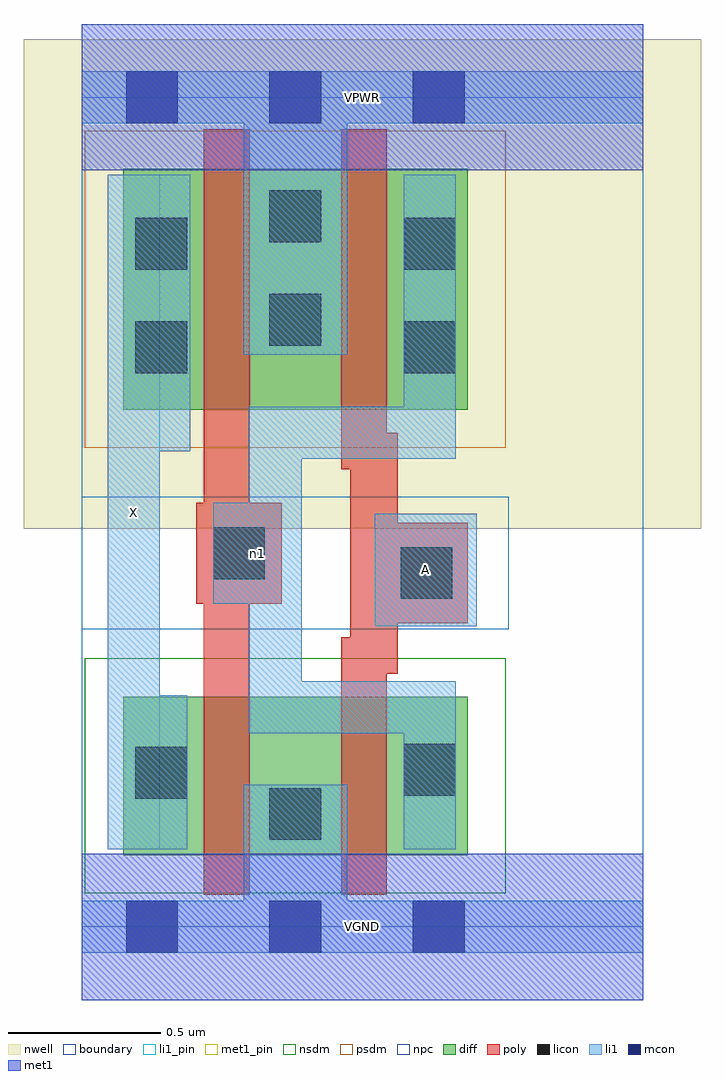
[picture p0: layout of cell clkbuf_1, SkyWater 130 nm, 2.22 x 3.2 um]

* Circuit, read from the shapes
.subckt clkbuf_1 A VGND VPWR X n1
XM1 VGND n1 X VSUBS sky130_fd_pr__nfet_01v8 w=0.52 l=0.15
XM2 n1 A VGND VSUBS sky130_fd_pr__nfet_01v8 w=0.52 l=0.15
XM3 VPWR n1 X n2 sky130_fd_pr__pfet_01v8 w=0.79 l=0.15
XM4 n1 A VPWR n2 sky130_fd_pr__pfet_01v8 w=0.79 l=0.15
.ends

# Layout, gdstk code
import gdstk
lib = gdstk.Library(unit=1e-6, precision=1e-09)
def R(c, l, rs):  # rectangles x0, y0, x1, y1
    for r in rs: c.add(gdstk.rectangle(r[:2], r[2:], *l))
def A(c, l, x, y, w, h, nx, ny, dx, dy):  # array of equal rectangles
    R(c, l, [(x+i*dx, y+j*dy, x+i*dx+w, y+j*dy+h) for i in range(nx) for j in range(ny)])
nwell = (64, 20)
diff = (65, 20)
poly = (66, 20)
licon = (66, 44)
li1_pin = (67, 16)
li1 = (67, 20)
mcon = (67, 44)
met1_pin = (68, 16)
met1 = (68, 20)
nsdm = (93, 44)
psdm = (94, 20)
npc = (95, 20)
boundary = (235, 4)

clkbuf_1 = lib.new_cell('clkbuf_1')
R(clkbuf_1, nwell, [(-0.19,1.305,2.03,2.91), (0,1.305,1.84,2.91)])
R(clkbuf_1, diff, [(0.135,0.235,1.265,0.755), (0.135,1.695,1.265,2.485)])
R(clkbuf_1, poly, [(0.4,0.105,0.55,2.615), (0.85,0.105,1,0.95), (0.88,0.83,1.035,1.62), (0.88,0.995,1.265,1.325), (0.375,1.06,0.655,1.39), (0.85,1.5,1,2.615)])
R(clkbuf_1, licon, [(0.615,0.285,0.785,0.455), (0.175,0.42,0.345,0.59), (1.055,0.43,1.225,0.6), (1.045,1.075,1.215,1.245), (0.43,1.14,0.6,1.31), (0.175,1.815,0.345,1.985), (1.055,1.815,1.225,1.985), (0.615,1.905,0.785,2.075), (0.175,2.155,0.345,2.325), (1.055,2.155,1.225,2.325), (0.615,2.245,0.785,2.415)])
R(clkbuf_1, li1_pin, [(0.085,0.255,0.255,2.465), (0.96,0.985,1.295,1.355)])
R(clkbuf_1, li1, [(0,-0.085,1.84,0.085), (0.53,-0.085,0.87,0.465), (0.085,0.255,0.255,2.465), (0.085,0.255,0.345,0.76), (1.055,0.255,1.225,0.805), (0.545,0.635,0.72,1.705), (0.545,0.635,1.225,0.805), (0.96,0.985,1.295,1.355), (0.43,1.06,0.72,1.39), (0.545,1.535,1.225,1.705), (1.055,1.535,1.225,2.465), (0.085,1.56,0.355,2.465), (0.53,1.875,0.87,2.805), (0,2.635,1.84,2.805)])
A(clkbuf_1, mcon, 0.145, -0.085, 0.17, 0.17, 3, 2, 0.47, 2.72)
R(clkbuf_1, met1_pin, [(0,-0.24,1.84,0.24), (0,2.48,1.84,2.96)])
R(clkbuf_1, met1, [(0,-0.24,1.84,0.24), (0,2.48,1.84,2.96)])
R(clkbuf_1, nsdm, [(0.01,0.11,1.39,0.88)])
R(clkbuf_1, psdm, [(0.01,1.57,1.39,2.61)])
R(clkbuf_1, npc, [(0,0.975,1.4,1.41)])
R(clkbuf_1, boundary, [(0,0,1.84,2.72)])
clkbuf_1.add(gdstk.Label('A', (1.127,1.17), layer=67, texttype=5))
clkbuf_1.add(gdstk.Label('X', (0.17,1.36), layer=67, texttype=5))
clkbuf_1.add(gdstk.Label('n1', (0.575,1.225), layer=67, texttype=5))
clkbuf_1.add(gdstk.Label('VPWR', (0.92,2.72), layer=68, texttype=5))
clkbuf_1.add(gdstk.Label('VGND', (0.92,0), layer=68, texttype=5))
clkbuf_1.add(gdstk.Label('A', (1.127,1.17), layer=67, texttype=16))
clkbuf_1.add(gdstk.Label('X', (0.17,1.36), layer=67, texttype=16))
clkbuf_1.add(gdstk.Label('VPWR', (0.92,2.72), layer=68, texttype=16))
clkbuf_1.add(gdstk.Label('VGND', (0.92,0), layer=68, texttype=16))

lib.write_gds('clkbuf_1.gds')
